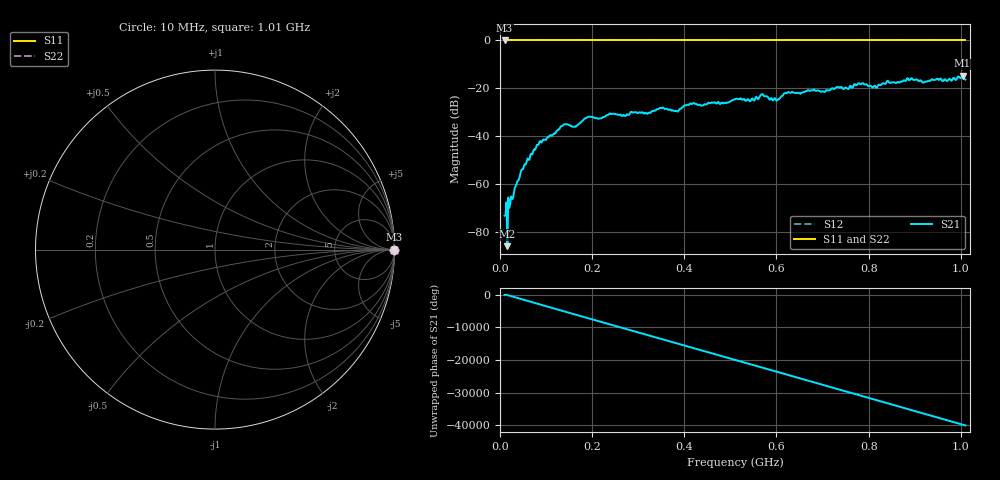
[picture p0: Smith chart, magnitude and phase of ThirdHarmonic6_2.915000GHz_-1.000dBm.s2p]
! 8/17/2025 8:05:49 AM
! C:\ANRITSUVNA\TEMP\TEMP.S2P
! CHANNEL.1
! TR.MEASUREMENT
! RAW.DATA
! RF.CORRECTION.OFF
! AVERAGING.OFF
! IF.BANDWIDTH: 5KHZ
! SWEEPTYPE:  FREQ.SWEEP(Linear)
! Reference Plane Port Info
! PORT:  PORT1  PORT2
! DISTANCE:  0  m  0  m
! TIME:  0  s  0  s
! PHASE.OFFSET:  0  deg.  0  deg.
! LOSS:  0  dB  0  dB
! REF.LOSS:  0  dB  0  dB
! REF.FREQ:  0  Hz  0  Hz
! Power Info
! POWER:  -20  dBm  -20  dBm
! EFF.POWER:  -20  dBm  -20  dBm
! SOURCE.ATTEN:  0  dB  0  dB
! TEST.ATTEN:  0  dB  0  dB
# GHZ S RI R 50.0
! FREQ.GHZ  S11RE  S11IM  S21RE  S21IM  S12RE  S12IM  S22RE  S22IM
!; PortSelection: Port_12
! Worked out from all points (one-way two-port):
!   501 points, 10 MHz to 1.01 GHz, reference 50 ohm
!   highest |S21| = -14.69 dB at 1.004 GHz (marker M1); lowest = -85.8 dB at 16 MHz (marker M2)
!   lowest |S11| = 0.0 dB at 10 MHz (marker M3)
!   |S11| at or under -10 dB: nowhere
!   |S22| runs from 0.0 to 0.0 dB; largest |S21 - S12| = 1.2
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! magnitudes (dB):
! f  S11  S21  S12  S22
! 10 MHz  0.0  -73.1  0.0  0.0
! 12 MHz  0.0  -72.8  0.0  0.0
! 16 MHz  0.0  -85.8  0.0  0.0
! 50 MHz  0.0  -53.7  0.0  0.0
! 84 MHz  0.0  -43.5  0.0  0.0
! 136 MHz  0.0  -35.6  0.0  0.0
! 162 MHz  0.0  -35.9  0.0  0.0
! 178 MHz  0.0  -33.7  0.0  0.0
! 344 MHz  0.0  -28.6  0.0  0.0
! 382 MHz  0.0  -29.3  0.0  0.0
! 416 MHz  0.0  -26.5  0.0  0.0
! 510 MHz  0.0  -24.5  0.0  0.0
! 546 MHz  0.0  -24.4  0.0  0.0
! 570 MHz  0.0  -22.4  0.0  0.0
! 602 MHz  0.0  -24.9  0.0  0.0
! 622 MHz  0.0  -22.0  0.0  0.0
! 678 MHz  0.0  -20.9  0.0  0.0
! 782 MHz  0.0  -18.3  0.0  0.0
! 814 MHz  0.0  -19.0  0.0  0.0
! 844 MHz  0.0  -17.5  0.0  0.0
! 1.004 GHz  0.0  -14.7  0.0  0.0
! 1.01 GHz  0.0  -16.3  0.0  0.0
